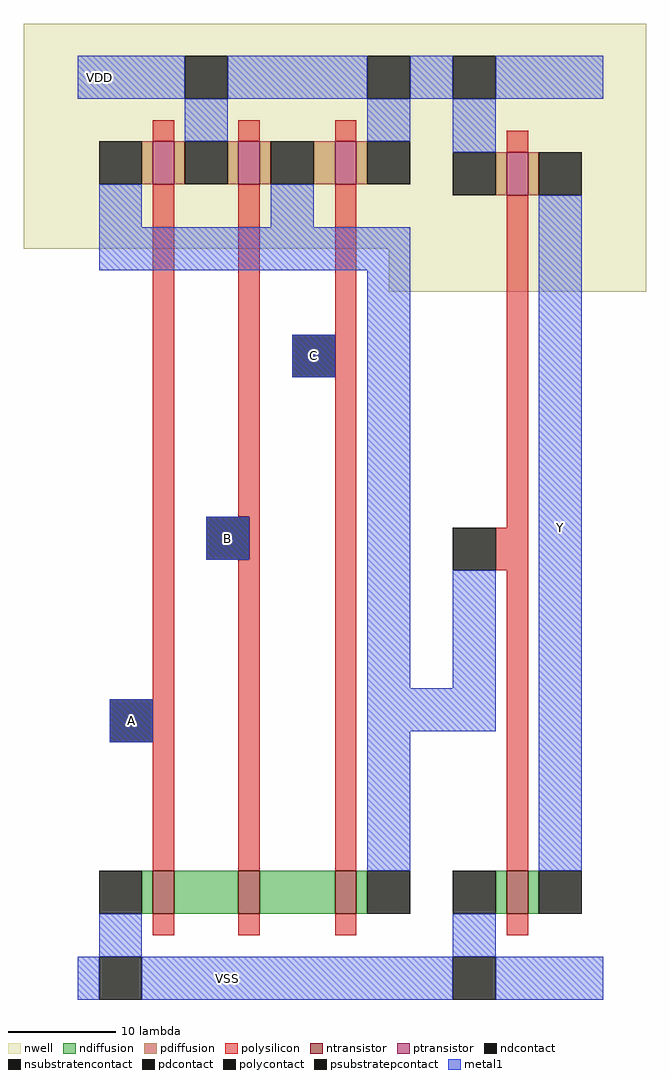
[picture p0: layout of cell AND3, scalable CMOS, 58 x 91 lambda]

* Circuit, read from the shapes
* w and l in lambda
.subckt AND3 A B C VDD VSS Y
M1 n1 A VSS VSS nfet w=4 l=2
M2 n2 B n1 VSS nfet w=4 l=2
M3 INV_0/A C n2 VSS nfet w=4 l=2
M4 Y INV_0/A VSS VSS nfet w=4 l=2
M5 VDD A INV_0/A VDD pfet w=4 l=2
M6 INV_0/A B VDD VDD pfet w=4 l=2
M7 VDD C INV_0/A VDD pfet w=4 l=2
M8 Y INV_0/A VDD VDD pfet w=4 l=2
.ends

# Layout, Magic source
magic
tech scmos
<< metal1 >>
rect 5 84 9 88
rect 25 58 29 62
rect 17 41 21 45
rect 40 29 44 40
rect 48 34 52 52
rect 8 24 12 28
rect 36 25 44 29
rect 17 0 21 4
use INV  INV_0
transform 1 0 38 0 1 0
box -4 0 20 91
use NAND3  NAND3_0
transform 1 0 5 0 1 0
box -5 0 38 91
<< labels >>
rlabel metal1 7 86 7 86 1 VDD
rlabel metal1 27 60 27 60 1 C
rlabel metal1 19 43 19 43 1 B
rlabel metal1 10 26 10 26 1 A
rlabel metal1 19 2 19 2 1 VSS
rlabel metal1 50 44 50 44 1 Y
<< end >>

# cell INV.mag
magic
tech scmos
<< nwell >>
rect -4 66 20 91
<< ntransistor >>
rect 7 8 9 12
<< ptransistor >>
rect 7 75 9 79
<< ndiffusion >>
rect 6 8 7 12
rect 9 8 10 12
<< pdiffusion >>
rect 6 75 7 79
rect 9 75 10 79
<< ndcontact >>
rect 2 8 6 12
rect 10 8 14 12
<< pdcontact >>
rect 2 75 6 79
rect 10 75 14 79
<< psubstratepcontact >>
rect 2 0 6 4
<< nsubstratencontact >>
rect 2 84 6 88
<< polysilicon >>
rect 7 79 9 81
rect 7 44 9 75
rect 6 40 9 44
rect 7 12 9 40
rect 7 6 9 8
<< polycontact >>
rect 2 40 6 44
<< metal1 >>
rect 0 84 2 88
rect 6 84 16 88
rect 2 79 6 84
rect 10 12 14 75
rect 2 4 6 8
rect 0 0 2 4
rect 6 0 16 4
<< labels >>
rlabel metal1 1 2 1 2 2 VSS
rlabel metal1 12 17 12 17 1 Y
rlabel metal1 1 86 1 86 4 VDD
rlabel polycontact 4 42 4 42 1 A
<< end >>

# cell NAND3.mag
magic
tech scmos
<< nwell >>
rect -5 70 38 91
<< ntransistor >>
rect 7 8 9 12
rect 15 8 17 12
rect 24 8 26 12
<< ptransistor >>
rect 7 76 9 80
rect 15 76 17 80
rect 24 76 26 80
<< ndiffusion >>
rect 6 8 7 12
rect 9 8 15 12
rect 17 8 24 12
rect 26 8 27 12
<< pdiffusion >>
rect 6 76 7 80
rect 9 76 10 80
rect 14 76 15 80
rect 17 76 18 80
rect 22 76 24 80
rect 26 76 27 80
<< ndcontact >>
rect 2 8 6 12
rect 27 8 31 12
<< pdcontact >>
rect 2 76 6 80
rect 10 76 14 80
rect 18 76 22 80
rect 27 76 31 80
<< psubstratepcontact >>
rect 2 0 6 4
<< nsubstratencontact >>
rect 10 84 14 88
rect 27 84 31 88
<< polysilicon >>
rect 7 80 9 82
rect 15 80 17 82
rect 24 80 26 82
rect 7 12 9 76
rect 15 45 17 76
rect 16 41 17 45
rect 15 12 17 41
rect 24 12 26 76
rect 7 6 9 8
rect 15 6 17 8
rect 24 6 26 8
<< polycontact >>
rect 3 24 7 28
rect 20 58 24 62
rect 12 41 16 45
<< metal1 >>
rect 0 84 10 88
rect 14 84 27 88
rect 31 84 33 88
rect 10 80 14 84
rect 27 80 31 84
rect 2 72 6 76
rect 18 72 22 76
rect 2 68 31 72
rect 27 12 31 68
rect 2 4 6 8
rect 0 0 2 4
rect 6 0 33 4
<< labels >>
rlabel nsubstratencontact 12 86 12 86 1 VDD
rlabel nsubstratencontact 29 86 29 86 1 VDD
rlabel polycontact 5 26 5 26 1 A
rlabel polycontact 14 43 14 43 1 B
rlabel polycontact 22 60 22 60 1 C
rlabel metal1 29 34 29 34 1 Y
rlabel psubstratepcontact 4 2 4 2 1 VSS
<< end >>
